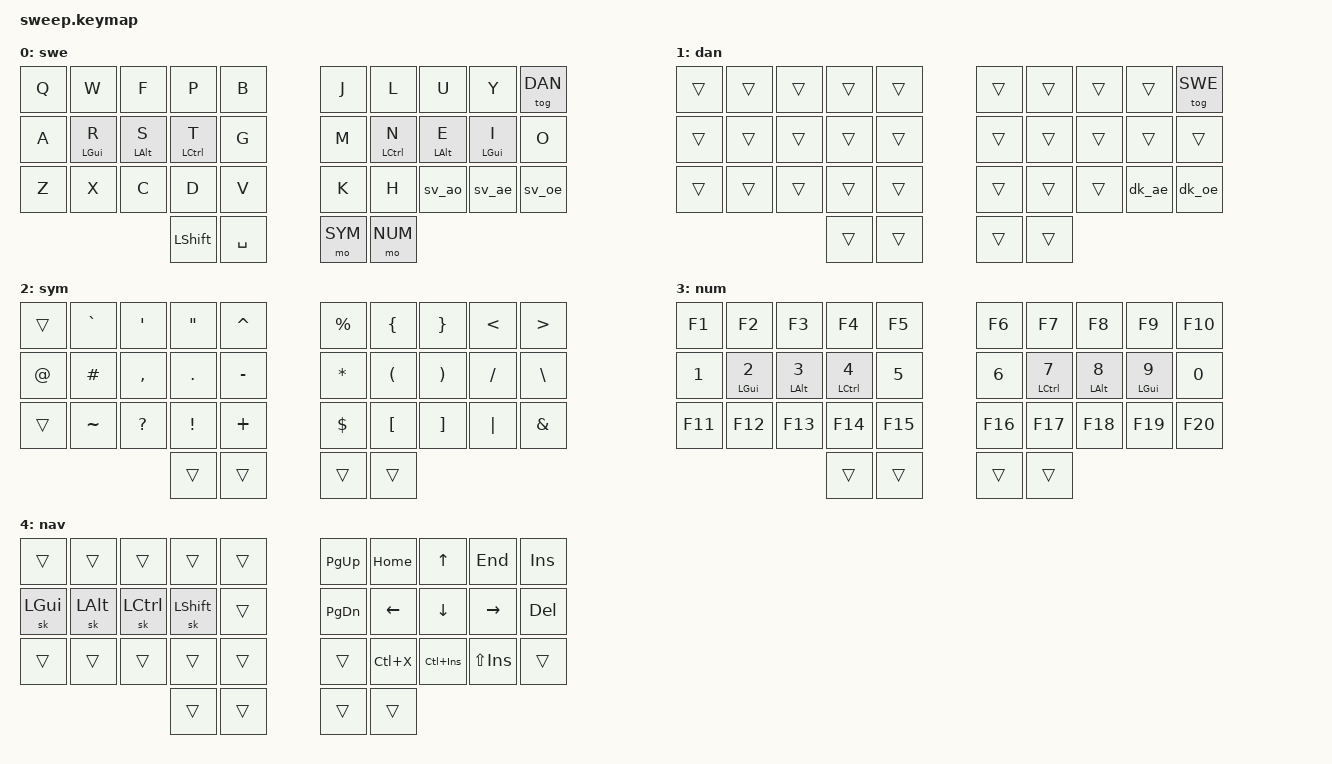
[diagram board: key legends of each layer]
#define HOST_OS 2

#include <behaviors.dtsi>
#include <dt-bindings/zmk/keys.h>

#include "../zmk-nodefree-config/helper.h"
#include "../zmk-nodefree-config/keypos_def/keypos_36keys.h"
#include "../zmk-nodefree-config/international_chars/swedish.dtsi"
#include "../zmk-nodefree-config/international_chars/danish.dtsi"

/* layer and key shortcuts */

#define ___ &trans

#define SWE 0  // layer shortcuts, must match order in which they are defined below
#define DAN 1 
#define SYM 2
#define NUM 3
#define NAV 4

/* custom behaviors */

// homerow mods
ZMK_BEHAVIOR(hrm, hold_tap,
    flavor = "balanced";
    tapping-term-ms = <280>;
    quick-tap-ms = <125>;
    global-quick-tap;
    bindings = <&kp>, <&kp>;
)

// tap: sticky shift | double tap: capsword
ZMK_BEHAVIOR(ss_cw, tap_dance,
    tapping-term-ms = <200>;
    bindings = <&sk LSHFT>, <&caps_word>;
)

// tap: backspace | shift + tap: delete | hold: num layer
ZMK_BEHAVIOR(bs_del_num, mod_morph,
    bindings = <&lt NUM BSPC>, <&kp DEL>;
    mods = <(MOD_LSFT|MOD_RSFT)>;
)

// windows sleep macro
ZMK_BEHAVIOR(win_sleep, macro,
    wait-ms = <100>;
    tap-ms = <5>;
    bindings = <&kp LG(X) &kp U &kp S>;
)

// euro sign
ZMK_UNICODE_SINGLE(euro_sign, N2, N0, A, C)  // €

// replace a/o/u/s with German umlauts when NAV and NUM are held jointly
ZMK_CONDITIONAL_LAYER(NAV NUM, DAN)

// combos
#undef COMBO_TERM
#define COMBO_TERM 60  // (default is 30ms if omitted)
ZMK_COMBO(combo_sleep,   &win_sleep,    RT3 RT4,       NAV)  // custom sleep macro, only active on NAV layer
ZMK_COMBO(combo_copy,    &kp LC(C),     LB2 LB3,       ALL)  // Ctrl + C, active on all layers
ZMK_COMBO(combo_paste,   &kp LC(V),     LB1 LB2,       ALL)  // Ctrl + V, active on all layers

ZMK_COMBO(combo_escape,  &kp ESC,       LT4 LT3,       ALL)
ZMK_COMBO(combo_return,  &kp RET,       RM2 RM3 RM4,   ALL)
ZMK_COMBO(combo_tab,     &kp TAB,       RM2 RM3,       ALL)
ZMK_COMBO(combo_bspc,    &kp BSPC,      RB1 RM2,       ALL)
ZMK_COMBO(combo_del,     &kp DEL,       RM1 RB2,       ALL)

ZMK_COMBO(combo_up,      &kp UP,        RM1 RT2 RM3,   ALL)
ZMK_COMBO(combo_down,    &kp DOWN,      RM1 RB2 RM3,   ALL)
ZMK_COMBO(combo_left,    &kp LEFT,      RM1 RT2,       ALL)
ZMK_COMBO(combo_right,   &kp RIGHT,     RT2 RM3,       ALL)

ZMK_COMBO(combo_next_bt, &bt BT_NXT,    RT4 RM4 RB4,   ALL)
ZMK_COMBO(combo_prev_bt, &bt BT_PRV,    LT4 LM4 LB4,   ALL)
ZMK_COMBO(combo_clr_bt,  &bt BT_CLR,    LT4 LM4 LB4 RT4 RM4 RB4,   ALL)


/* keymap */

ZMK_LAYER(swe,
     // ╭─────────────┬─────────────┬─────────────┬─────────────┬─────────────╮   ╭─────────────┬─────────────┬─────────────┬─────────────┬─────────────╮
         &kp Q         &kp W         &kp F         &kp P         &kp B             &kp J         &kp L         &kp U         &kp Y         &tog DAN
     // ├─────────────┼─────────────┼─────────────┼─────────────┼─────────────┤   ├─────────────┼─────────────┼─────────────┼─────────────┼─────────────┤
         &kp A         &hrm LGUI R   &hrm LALT S   &hrm LCTRL T  &kp G             &kp M         &hrm LCTRL N  &hrm LALT E   &hrm LGUI I   &kp O
     // ├─────────────┼─────────────┼─────────────┼─────────────┼─────────────┤   ├─────────────┼─────────────┼─────────────┼─────────────┼─────────────┤
         &kp Z         &kp X         &kp C         &kp D         &kp V             &kp K         &kp H         &sv_ao        &sv_ae        &sv_oe      
     // ╰─────────────┴─────────────┴─────────────┼─────────────┼─────────────┤   ├─────────────┼─────────────┼─────────────┴─────────────┴─────────────╯
                                                   &kp LSHFT     &kp SPACE         &mo SYM       &mo NUM  
     //                                           ╰─────────────┴─────────────╯   ╰─────────────┴─────────────╯
)

ZMK_LAYER(dan,
     // ╭─────────────┬─────────────┬─────────────┬─────────────┬─────────────╮   ╭─────────────┬─────────────┬─────────────┬─────────────┬─────────────╮
          ___           ___           ___           ___           ___               ___           ___           ___           ___          &tog SWE
     // ├─────────────┼─────────────┼─────────────┼─────────────┼─────────────┤   ├─────────────┼─────────────┼─────────────┼─────────────┼─────────────┤
          ___           ___           ___           ___           ___               ___           ___           ___           ___           ___
     // ├─────────────┼─────────────┼─────────────┼─────────────┼─────────────┤   ├─────────────┼─────────────┼─────────────┼─────────────┼─────────────┤
          ___           ___           ___           ___           ___               ___           ___           ___          &dk_ae        &dk_oe
     // ╰─────────────┴─────────────┴─────────────┼─────────────┼─────────────┤   ├─────────────┼─────────────┼─────────────┴─────────────┴─────────────╯
                                                    ___           ___               ___           ___
     //                                           ╰─────────────┴─────────────╯   ╰─────────────┴─────────────╯
)

ZMK_LAYER(sym,
     // ╭─────────────┬─────────────┬─────────────┬─────────────┬─────────────╮   ╭─────────────┬─────────────┬─────────────┬─────────────┬─────────────╮
          ___          &kp GRAVE     &kp SQT       &kp DQT       &kp CARET         &kp PERCENT   &kp LBRC      &kp RBRC      &kp LT        &kp GT
     // ├─────────────┼─────────────┼─────────────┼─────────────┼─────────────┤   ├─────────────┼─────────────┼─────────────┼─────────────┼─────────────┤
         &kp AT        &kp HASH      &kp COMMA     &kp DOT       &kp MINUS         &kp STAR      &kp LPAR      &kp RPAR      &kp FSLH      &kp BSLH
     // ├─────────────┼─────────────┼─────────────┼─────────────┼─────────────┤   ├─────────────┼─────────────┼─────────────┼─────────────┼─────────────┤
          ___          &kp TILDE     &kp QMARK     &kp EXCL      &kp PLUS          &kp DOLLAR    &kp LBKT      &kp RBKT      &kp PIPE      &kp AMPS
     // ╰─────────────┴─────────────┴─────────────┼─────────────┼─────────────┤   ├─────────────┼─────────────┼─────────────┴─────────────┴─────────────╯
                                                    ___           ___               ___           ___
     //                                           ╰─────────────┴─────────────╯   ╰─────────────┴─────────────╯
)

ZMK_LAYER(num,
     // ╭─────────────┬─────────────┬─────────────┬─────────────┬─────────────╮   ╭─────────────┬─────────────┬─────────────┬─────────────┬─────────────╮
         &kp F1        &kp F2        &kp F3        &kp F4        &kp F5            &kp F6        &kp F7        &kp F8        &kp F9        &kp F10        
     // ├─────────────┼─────────────┼─────────────┼─────────────┼─────────────┤   ├─────────────┼─────────────┼─────────────┼─────────────┼─────────────┤
         &kp N1        &hrm LGUI N2  &hrm LALT N3  &hrm LCTRL N4 &kp N5            &kp N6        &hrm LCTRL N7 &hrm LALT N8  &hrm LGUI N9  &kp N0
     // ├─────────────┼─────────────┼─────────────┼─────────────┼─────────────┤   ├─────────────┼─────────────┼─────────────┼─────────────┼─────────────┤
         &kp F11       &kp F12       &kp F13       &kp F14       &kp F15           &kp F16       &kp F17       &kp F18       &kp F19       &kp F20
     // ╰─────────────┴─────────────┴─────────────┼─────────────┼─────────────┤   ├─────────────┼─────────────┼─────────────┴─────────────┴─────────────╯
                                                    ___           ___               ___           ___
     //                                           ╰─────────────┴─────────────╯   ╰─────────────┴─────────────╯
)

ZMK_LAYER(nav,
     // ╭─────────────┬─────────────┬─────────────┬─────────────┬─────────────╮   ╭─────────────┬─────────────┬─────────────┬─────────────┬─────────────╮
          ___           ___           ___           ___           ___               &kp PG_UP     &kp HOME      &kp UP        &kp END       &kp INS
     // ├─────────────┼─────────────┼─────────────┼─────────────┼─────────────┤   ├─────────────┼─────────────┼─────────────┼─────────────┼─────────────┤
          &sk LGUI      &sk LALT      &sk LCTRL     &sk LSHFT     ___               &kp PG_DN     &kp LEFT      &kp DOWN      &kp RIGHT     &kp DEL
     // ├─────────────┼─────────────┼─────────────┼─────────────┼─────────────┤   ├─────────────┼─────────────┼─────────────┼─────────────┼─────────────┤
          ___           ___           ___           ___           ___               ___           &kp LC(X)     &kp LC(INS)   &kp LS(INS)   ___
     // ╰─────────────┴─────────────┴─────────────┼─────────────┼─────────────┤   ├─────────────┼─────────────┼─────────────┴─────────────┴─────────────╯
                                                    ___           ___               ___           ___
     //                                           ╰─────────────┴─────────────╯   ╰─────────────┴─────────────╯
)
